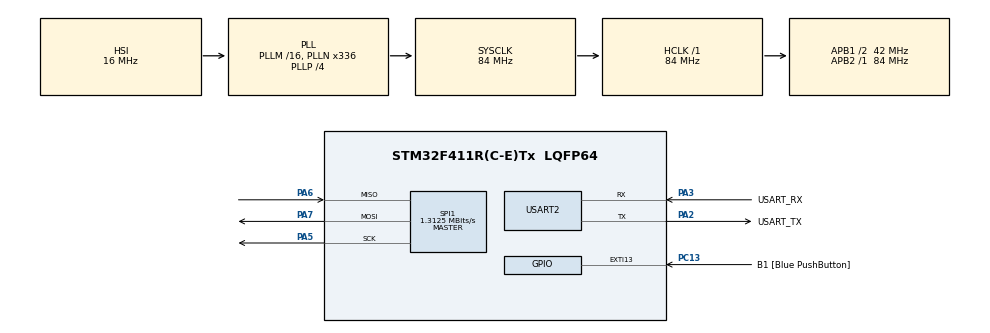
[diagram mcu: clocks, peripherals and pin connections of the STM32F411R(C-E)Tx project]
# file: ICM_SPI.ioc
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Mcu.Family=STM32F4
Mcu.Name=STM32F411R(C-E)Tx
Mcu.Package=LQFP64
NVIC.PriorityGroup=NVIC_PRIORITYGROUP_0
PA13.GPIO_Label=TMS
PA13.Mode=Serial_Wire
PA13.Signal=SYS_JTMS-SWDIO
PA14.GPIO_Label=TCK
PA14.Mode=Serial_Wire
PA14.Signal=SYS_JTCK-SWCLK
PA2.GPIO_Label=USART_TX
PA2.Mode=Asynchronous
PA2.Signal=USART2_TX
PA3.GPIO_Label=USART_RX
PA3.Mode=Asynchronous
PA3.Signal=USART2_RX
PA4.Signal=SPI1_NSS
PA5.Mode=Full_Duplex_Master
PA5.Signal=SPI1_SCK
PA6.Mode=Full_Duplex_Master
PA6.Signal=SPI1_MISO
PA7.Mode=Full_Duplex_Master
PA7.Signal=SPI1_MOSI
PB3.GPIO_Label=SWO
PB3.Signal=SYS_JTDO-SWO
PC13-ANTI_TAMP.GPIO_Label=B1 [Blue PushButton]
PC13-ANTI_TAMP.GPIO_ModeDefaultEXTI=GPIO_MODE_IT_FALLING
PC13-ANTI_TAMP.Signal=GPXTI13
PC14-OSC32_IN.Mode=LSE-External-Oscillator
PC14-OSC32_IN.Signal=RCC_OSC32_IN
PC15-OSC32_OUT.Mode=LSE-External-Oscillator
PC15-OSC32_OUT.Signal=RCC_OSC32_OUT
PH0\ -\ OSC_IN.Mode=HSE-External-Clock-Source
PH0\ -\ OSC_IN.Signal=RCC_OSC_IN
PH1\ -\ OSC_OUT.Mode=HSE-External-Clock-Source
PH1\ -\ OSC_OUT.Signal=RCC_OSC_OUT
ProjectManager.HeapSize=0x200
ProjectManager.StackSize=0x400
ProjectManager.TargetToolchain=STM32CubeIDE
RCC.48MHZClocksFreq_Value=84000000
RCC.AHBFreq_Value=84000000
RCC.APB1CLKDivider=RCC_HCLK_DIV2
RCC.APB1Freq_Value=42000000
RCC.APB1TimFreq_Value=84000000
RCC.APB2Freq_Value=84000000
RCC.APB2TimFreq_Value=84000000
RCC.CortexFreq_Value=84000000
RCC.FLatency-AdvancedSettings=FLASH_LATENCY_2
RCC.HCLKFreq_Value=84000000
RCC.HSE_VALUE=8000000
RCC.HSI_VALUE=16000000
RCC.PLLN=336
RCC.PLLP=RCC_PLLP_DIV4
RCC.SYSCLKFreq_VALUE=84000000
RCC.SYSCLKSource=RCC_SYSCLKSOURCE_PLLCLK
RCC.VCOOutputFreq_Value=336000000
SPI1.BaudRatePrescaler=SPI_BAUDRATEPRESCALER_64
SPI1.CalculateBaudRate=1.3125 MBits/s
SPI1.Direction=SPI_DIRECTION_2LINES
SPI1.Mode=SPI_MODE_MASTER
SPI1.VirtualType=VM_MASTER
USART2.VirtualMode=VM_ASYNC
board=NUCLEO-F411RE

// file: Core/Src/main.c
/* USER CODE BEGIN Header */
/**
  ******************************************************************************
  * @file           : main.c
  * @brief          : Main program body
  ******************************************************************************
  * @attention
  *
  * Copyright (c) 2026 STMicroelectronics.
  * All rights reserved.
  *
  * This software is licensed under terms that can be found in the LICENSE file
  * in the root directory of this software component.
  * If no LICENSE file comes with this software, it is provided AS-IS.
  *
  ******************************************************************************
  */
/* USER CODE END Header */
#include "main.h"

/* USER CODE BEGIN Includes */
#include "icm20948.h"
#include <stdio.h>
#include <string.h>
/* USER CODE END Includes */

SPI_HandleTypeDef hspi1;

UART_HandleTypeDef huart2;

/* USER CODE BEGIN PV */
ICM20948_Handle_t hicm20948;
ICM20948_Data_t imu_data;
char uart_buf[256];
/* USER CODE END PV */

void SystemClock_Config(void);
static void MX_GPIO_Init(void);
static void MX_USART2_UART_Init(void);
static void MX_SPI1_Init(void);

int main(void)
{

  /* MCU Configuration--------------------------------------------------------*/

  /* Reset of all peripherals, Initializes the Flash interface and the Systick. */
  HAL_Init();

  /* Configure the system clock */
  SystemClock_Config();

  /* Initialize all configured peripherals */
  MX_GPIO_Init();
  MX_USART2_UART_Init();
  MX_SPI1_Init();
  /* USER CODE BEGIN 2 */
  if (ICM20948_Init(&hicm20948, &hspi1, ICM20948_CS_GPIO_Port, ICM20948_CS_Pin) != HAL_OK) {
    /* ICM20948 init failed - send message and halt */
    const char *msg = "ICM20948 init fail\r\n";
    HAL_UART_Transmit(&huart2, (const uint8_t *)msg, (uint16_t)strlen(msg), 1000);
    Error_Handler();
  }
  const char *ready = "ICM20948 OK - Accel, Gyro, Mag\r\n";
  HAL_UART_Transmit(&huart2, (const uint8_t *)ready, (uint16_t)strlen(ready), 1000);
  /* USER CODE END 2 */

  /* Infinite loop */
  while (1)
  {

    /* USER CODE BEGIN 3 */
    if (ICM20948_ReadAccelGyro(&hicm20948, &imu_data) == HAL_OK &&
        ICM20948_ReadMagnetometer(&hicm20948, &imu_data) == HAL_OK) {
      ICM20948_ScaleData(&imu_data);
      /* Binary packet for Data Monitoring System: AA 55 + 9 x int16 LE (Accel,Gyro,Mag) */
      uint8_t buf[20];
      int16_t *p = (int16_t *)(buf + 2);
      buf[0] = 0xAA;
      buf[1] = 0x55;
      *p++ = (int16_t)(imu_data.accel_x * 8192.0f);
      *p++ = (int16_t)(imu_data.accel_y * 8192.0f);
      *p++ = (int16_t)(imu_data.accel_z * 8192.0f);
      *p++ = (int16_t)(imu_data.gyro_x * 131.0f);
      *p++ = (int16_t)(imu_data.gyro_y * 131.0f);
      *p++ = (int16_t)(imu_data.gyro_z * 131.0f);
      *p++ = (int16_t)(imu_data.mag_x / 0.15f);
      *p++ = (int16_t)(imu_data.mag_y / 0.15f);
      *p++ = (int16_t)(imu_data.mag_z / 0.15f);
      HAL_UART_Transmit(&huart2, buf, 20, 100);
    }
    HAL_Delay(100);
  }
  /* USER CODE END 3 */
}

void SystemClock_Config(void)
{
  RCC_OscInitTypeDef RCC_OscInitStruct = {0};
  RCC_ClkInitTypeDef RCC_ClkInitStruct = {0};

  /** Configure the main internal regulator output voltage
  */
  __HAL_RCC_PWR_CLK_ENABLE();
  __HAL_PWR_VOLTAGESCALING_CONFIG(PWR_REGULATOR_VOLTAGE_SCALE1);

  /** Initializes the RCC Oscillators according to the specified parameters
  * in the RCC_OscInitTypeDef structure.
  */
  RCC_OscInitStruct.OscillatorType = RCC_OSCILLATORTYPE_HSI;
  RCC_OscInitStruct.HSIState = RCC_HSI_ON;
  RCC_OscInitStruct.HSICalibrationValue = RCC_HSICALIBRATION_DEFAULT;
  RCC_OscInitStruct.PLL.PLLState = RCC_PLL_ON;
  RCC_OscInitStruct.PLL.PLLSource = RCC_PLLSOURCE_HSI;
  RCC_OscInitStruct.PLL.PLLM = 16;
  RCC_OscInitStruct.PLL.PLLN = 336;
  RCC_OscInitStruct.PLL.PLLP = RCC_PLLP_DIV4;
  RCC_OscInitStruct.PLL.PLLQ = 4;
  if (HAL_RCC_OscConfig(&RCC_OscInitStruct) != HAL_OK)
  {
    Error_Handler();
  }

  /** Initializes the CPU, AHB and APB buses clocks
  */
  RCC_ClkInitStruct.ClockType = RCC_CLOCKTYPE_HCLK|RCC_CLOCKTYPE_SYSCLK
                              |RCC_CLOCKTYPE_PCLK1|RCC_CLOCKTYPE_PCLK2;
  RCC_ClkInitStruct.SYSCLKSource = RCC_SYSCLKSOURCE_PLLCLK;
  RCC_ClkInitStruct.AHBCLKDivider = RCC_SYSCLK_DIV1;
  RCC_ClkInitStruct.APB1CLKDivider = RCC_HCLK_DIV2;
  RCC_ClkInitStruct.APB2CLKDivider = RCC_HCLK_DIV1;

  if (HAL_RCC_ClockConfig(&RCC_ClkInitStruct, FLASH_LATENCY_2) != HAL_OK)
  {
    Error_Handler();
  }
}

static void MX_SPI1_Init(void)
{

  /* SPI1 parameter configuration*/
  hspi1.Instance = SPI1;
  hspi1.Init.Mode = SPI_MODE_MASTER;
  hspi1.Init.Direction = SPI_DIRECTION_2LINES;
  hspi1.Init.DataSize = SPI_DATASIZE_8BIT;
  hspi1.Init.CLKPolarity = SPI_POLARITY_LOW;
  hspi1.Init.CLKPhase = SPI_PHASE_1EDGE;
  hspi1.Init.NSS = SPI_NSS_SOFT;
  hspi1.Init.BaudRatePrescaler = SPI_BAUDRATEPRESCALER_64;
  hspi1.Init.FirstBit = SPI_FIRSTBIT_MSB;
  hspi1.Init.TIMode = SPI_TIMODE_DISABLE;
  hspi1.Init.CRCCalculation = SPI_CRCCALCULATION_DISABLE;
  hspi1.Init.CRCPolynomial = 10;
  if (HAL_SPI_Init(&hspi1) != HAL_OK)
  {
    Error_Handler();
  }

}

static void MX_USART2_UART_Init(void)
{

  huart2.Instance = USART2;
  huart2.Init.BaudRate = 115200;
  huart2.Init.WordLength = UART_WORDLENGTH_8B;
  huart2.Init.StopBits = UART_STOPBITS_1;
  huart2.Init.Parity = UART_PARITY_NONE;
  huart2.Init.Mode = UART_MODE_TX_RX;
  huart2.Init.HwFlowCtl = UART_HWCONTROL_NONE;
  huart2.Init.OverSampling = UART_OVERSAMPLING_16;
  if (HAL_UART_Init(&huart2) != HAL_OK)
  {
    Error_Handler();
  }

}

static void MX_GPIO_Init(void)
{
  GPIO_InitTypeDef GPIO_InitStruct = {0};

  /* GPIO Ports Clock Enable */
  __HAL_RCC_GPIOC_CLK_ENABLE();
  __HAL_RCC_GPIOH_CLK_ENABLE();
  __HAL_RCC_GPIOA_CLK_ENABLE();
  __HAL_RCC_GPIOB_CLK_ENABLE();

  /*Configure GPIO pin : B1_Pin */
  GPIO_InitStruct.Pin = B1_Pin;
  GPIO_InitStruct.Mode = GPIO_MODE_IT_FALLING;
  GPIO_InitStruct.Pull = GPIO_NOPULL;
  HAL_GPIO_Init(B1_GPIO_Port, &GPIO_InitStruct);

}

void Error_Handler(void)
{
  __disable_irq();
  while (1)
  {
  }
}
